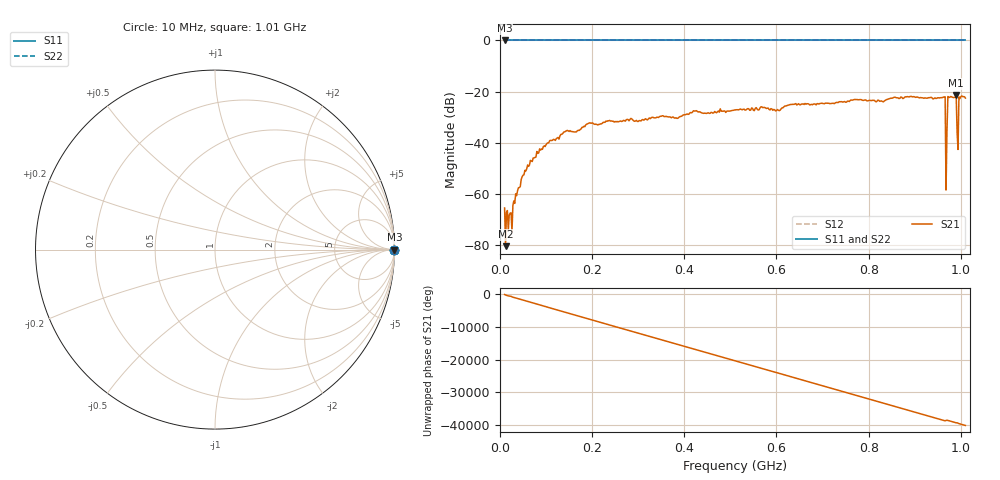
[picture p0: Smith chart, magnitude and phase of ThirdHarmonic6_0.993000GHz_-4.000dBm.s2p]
! 8/16/2025 7:53:17 AM
! C:\ANRITSUVNA\TEMP\TEMP.S2P
! CHANNEL.1
! TR.MEASUREMENT
! RAW.DATA
! RF.CORRECTION.OFF
! AVERAGING.OFF
! IF.BANDWIDTH: 5KHZ
! SWEEPTYPE:  FREQ.SWEEP(Linear)
! Reference Plane Port Info
! PORT:  PORT1  PORT2
! DISTANCE:  0  m  0  m
! TIME:  0  s  0  s
! PHASE.OFFSET:  0  deg.  0  deg.
! LOSS:  0  dB  0  dB
! REF.LOSS:  0  dB  0  dB
! REF.FREQ:  0  Hz  0  Hz
! Power Info
! POWER:  -20  dBm  -20  dBm
! EFF.POWER:  -20  dBm  -20  dBm
! SOURCE.ATTEN:  0  dB  0  dB
! TEST.ATTEN:  0  dB  0  dB
# GHZ S RI R 50.0
! FREQ.GHZ  S11RE  S11IM  S21RE  S21IM  S12RE  S12IM  S22RE  S22IM
!; PortSelection: Port_12
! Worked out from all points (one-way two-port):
!   501 points, 10 MHz to 1.01 GHz, reference 50 ohm
!   highest |S21| = -21.49 dB at 990 MHz (marker M1); lowest = -80.5 dB at 12 MHz (marker M2)
!   lowest |S11| = 0.0 dB at 10 MHz (marker M3)
!   |S11| at or under -10 dB: nowhere
!   |S22| runs from 0.0 to 0.0 dB; largest |S21 - S12| = 1.1
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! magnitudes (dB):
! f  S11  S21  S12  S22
! 10 MHz  0.0  -65.6  0.0  0.0
! 12 MHz  0.0  -80.5  0.0  0.0
! 22 MHz  0.0  -67.6  0.0  0.0
! 50 MHz  0.0  -52.7  0.0  0.0
! 84 MHz  0.0  -44.0  0.0  0.0
! 142 MHz  0.0  -35.6  0.0  0.0
! 178 MHz  0.0  -34.0  0.0  0.0
! 344 MHz  0.0  -30.2  0.0  0.0
! 510 MHz  0.0  -27.2  0.0  0.0
! 678 MHz  0.0  -25.1  0.0  0.0
! 844 MHz  0.0  -22.9  0.0  0.0
! 962 MHz  0.0  -22.2  0.0  0.0
! 964 MHz  0.0  -22.2  0.0  0.0
! 966 MHz  0.0  -22.0  0.0  0.0
! 972 MHz  0.0  -22.0  0.0  0.0
! 974 MHz  0.0  -22.3  0.0  0.0
! 976 MHz  0.0  -22.2  0.0  0.0
! 986 MHz  0.0  -22.3  0.0  0.0
! 990 MHz  0.0  -21.5  0.0  0.0
! 996 MHz  0.0  -22.1  0.0  0.0
! 1 GHz  0.0  -22.0  0.0  0.0
! 1.01 GHz  0.0  -22.5  0.0  0.0
